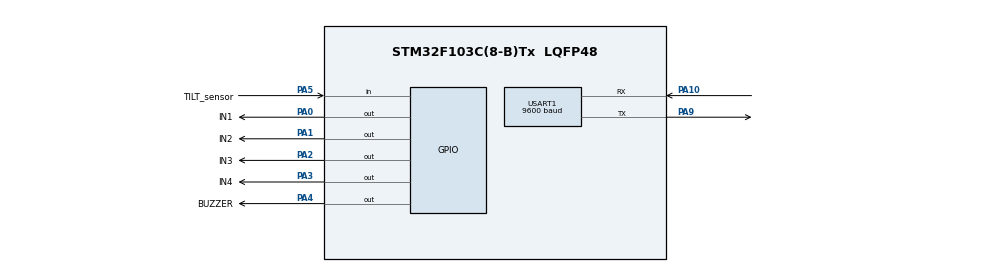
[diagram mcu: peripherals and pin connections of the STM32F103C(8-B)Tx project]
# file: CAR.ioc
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Mcu.Family=STM32F1
Mcu.Name=STM32F103C(8-B)Tx
Mcu.Package=LQFP48
NVIC.PriorityGroup=NVIC_PRIORITYGROUP_4
PA0-WKUP.GPIO_Label=IN1
PA0-WKUP.Signal=GPIO_Output
PA1.GPIO_Label=IN2
PA1.Signal=GPIO_Output
PA10.Mode=Asynchronous
PA10.Signal=USART1_RX
PA13.Mode=Serial_Wire
PA13.Signal=SYS_JTMS-SWDIO
PA14.Mode=Serial_Wire
PA14.Signal=SYS_JTCK-SWCLK
PA2.GPIO_Label=IN3
PA2.Signal=GPIO_Output
PA3.GPIO_Label=IN4
PA3.Signal=GPIO_Output
PA4.GPIO_Label=BUZZER
PA4.Signal=GPIO_Output
PA5.GPIO_Label=TILT_sensor
PA5.Signal=GPIO_Input
PA9.Mode=Asynchronous
PA9.Signal=USART1_TX
ProjectManager.HeapSize=0x200
ProjectManager.StackSize=0x400
ProjectManager.TargetToolchain=STM32CubeIDE
RCC.APB1Freq_Value=8000000
RCC.APB2Freq_Value=8000000
USART1.BaudRate=9600
USART1.VirtualMode=VM_ASYNC
board=custom

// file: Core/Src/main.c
/* USER CODE BEGIN Header */
/**
  ******************************************************************************
  * @file           : main.c
  * @brief          : Main program body
  ******************************************************************************
  * @attention
  *
  * Copyright (c) 2026 STMicroelectronics.
  * All rights reserved.
  *
  * This software is licensed under terms that can be found in the LICENSE file
  * in the root directory of this software component.
  * If no LICENSE file comes with this software, it is provided AS-IS.
  *
  ******************************************************************************
  */
/* USER CODE END Header */
#include "main.h"

UART_HandleTypeDef huart1;

void SystemClock_Config(void);
static void MX_GPIO_Init(void);
static void MX_USART1_UART_Init(void);

int main(void)
{

  /* MCU Configuration--------------------------------------------------------*/

  /* Reset of all peripherals, Initializes the Flash interface and the Systick. */
  HAL_Init();

  /* Configure the system clock */
  SystemClock_Config();

  /* Initialize all configured peripherals */
  MX_GPIO_Init();
  MX_USART1_UART_Init();
enum CAR{
	front,back,right,left,stop
};
enum CAR state = stop;
  /* Infinite loop */
  /* USER CODE BEGIN WHILE */
  while (1)
  {
	  if(HAL_GPIO_ReadPin(GPIOA,GPIO_PIN_5)==GPIO_PIN_SET){
		  HAL_GPIO_WritePin(GPIOA,GPIO_PIN_4,SET);
	  }
	  else if(HAL_GPIO_ReadPin(GPIOA,GPIO_PIN_5)==GPIO_PIN_RESET){
		  HAL_GPIO_WritePin(GPIOA,GPIO_PIN_4,RESET);
	  }
	  uint8_t a;
	 if(HAL_UART_Receive(&huart1, (uint8_t*)&a, 1, 100)==HAL_OK){
		 if(a == 'F')
		     state = front;
		 else if(a == 'S')
		     state = stop;
		 else if(a == 'R')
		     state = right;
		 else if(a == 'L')
		     state = left;
		 else if(a == 'B')
		     state = back;
	 }
	  switch(state){
	  case stop:
		  HAL_GPIO_WritePin(GPIOA,GPIO_PIN_0,RESET);
		  HAL_GPIO_WritePin(GPIOA,GPIO_PIN_1,RESET);
		  HAL_GPIO_WritePin(GPIOA,GPIO_PIN_2,RESET);
		  HAL_GPIO_WritePin(GPIOA,GPIO_PIN_3,RESET);
		  break;

	  case front:
		  HAL_GPIO_WritePin(GPIOA,GPIO_PIN_0,SET);
		  HAL_GPIO_WritePin(GPIOA,GPIO_PIN_1,RESET);
		  HAL_GPIO_WritePin(GPIOA,GPIO_PIN_2,SET);
		  HAL_GPIO_WritePin(GPIOA,GPIO_PIN_3,RESET);
		  break;

	  case back:
		  HAL_GPIO_WritePin(GPIOA,GPIO_PIN_0,RESET);
		  HAL_GPIO_WritePin(GPIOA,GPIO_PIN_1,SET);
		  HAL_GPIO_WritePin(GPIOA,GPIO_PIN_2,RESET);
		  HAL_GPIO_WritePin(GPIOA,GPIO_PIN_3,SET);
		  break;

	  case right:
		  HAL_GPIO_WritePin(GPIOA,GPIO_PIN_0,SET);
		  HAL_GPIO_WritePin(GPIOA,GPIO_PIN_1,RESET);
		  HAL_GPIO_WritePin(GPIOA,GPIO_PIN_2,RESET);
		  HAL_GPIO_WritePin(GPIOA,GPIO_PIN_3,RESET);
		  break;

	  case left:
		  HAL_GPIO_WritePin(GPIOA,GPIO_PIN_0,RESET);
		  HAL_GPIO_WritePin(GPIOA,GPIO_PIN_1,RESET);
		  HAL_GPIO_WritePin(GPIOA,GPIO_PIN_2,SET);
		  HAL_GPIO_WritePin(GPIOA,GPIO_PIN_3,RESET);
		  break;
	  }
    /* USER CODE END WHILE */

  }
}

void SystemClock_Config(void)
{
  RCC_OscInitTypeDef RCC_OscInitStruct = {0};
  RCC_ClkInitTypeDef RCC_ClkInitStruct = {0};

  /** Initializes the RCC Oscillators according to the specified parameters
  * in the RCC_OscInitTypeDef structure.
  */
  RCC_OscInitStruct.OscillatorType = RCC_OSCILLATORTYPE_HSI;
  RCC_OscInitStruct.HSIState = RCC_HSI_ON;
  RCC_OscInitStruct.HSICalibrationValue = RCC_HSICALIBRATION_DEFAULT;
  RCC_OscInitStruct.PLL.PLLState = RCC_PLL_NONE;
  if (HAL_RCC_OscConfig(&RCC_OscInitStruct) != HAL_OK)
  {
    Error_Handler();
  }

  /** Initializes the CPU, AHB and APB buses clocks
  */
  RCC_ClkInitStruct.ClockType = RCC_CLOCKTYPE_HCLK|RCC_CLOCKTYPE_SYSCLK
                              |RCC_CLOCKTYPE_PCLK1|RCC_CLOCKTYPE_PCLK2;
  RCC_ClkInitStruct.SYSCLKSource = RCC_SYSCLKSOURCE_HSI;
  RCC_ClkInitStruct.AHBCLKDivider = RCC_SYSCLK_DIV1;
  RCC_ClkInitStruct.APB1CLKDivider = RCC_HCLK_DIV1;
  RCC_ClkInitStruct.APB2CLKDivider = RCC_HCLK_DIV1;

  if (HAL_RCC_ClockConfig(&RCC_ClkInitStruct, FLASH_LATENCY_0) != HAL_OK)
  {
    Error_Handler();
  }
}

static void MX_USART1_UART_Init(void)
{

  huart1.Instance = USART1;
  huart1.Init.BaudRate = 9600;
  huart1.Init.WordLength = UART_WORDLENGTH_8B;
  huart1.Init.StopBits = UART_STOPBITS_1;
  huart1.Init.Parity = UART_PARITY_NONE;
  huart1.Init.Mode = UART_MODE_TX_RX;
  huart1.Init.HwFlowCtl = UART_HWCONTROL_NONE;
  huart1.Init.OverSampling = UART_OVERSAMPLING_16;
  if (HAL_UART_Init(&huart1) != HAL_OK)
  {
    Error_Handler();
  }

}

static void MX_GPIO_Init(void)
{
  GPIO_InitTypeDef GPIO_InitStruct = {0};

  /* GPIO Ports Clock Enable */
  __HAL_RCC_GPIOA_CLK_ENABLE();

  /*Configure GPIO pin Output Level */
  HAL_GPIO_WritePin(GPIOA, IN1_Pin|IN2_Pin|IN3_Pin|IN4_Pin
                          |BUZZER_Pin, GPIO_PIN_RESET);

  /*Configure GPIO pins : IN1_Pin IN2_Pin IN3_Pin IN4_Pin
                           BUZZER_Pin */
  GPIO_InitStruct.Pin = IN1_Pin|IN2_Pin|IN3_Pin|IN4_Pin
                          |BUZZER_Pin;
  GPIO_InitStruct.Mode = GPIO_MODE_OUTPUT_PP;
  GPIO_InitStruct.Pull = GPIO_NOPULL;
  GPIO_InitStruct.Speed = GPIO_SPEED_FREQ_LOW;
  HAL_GPIO_Init(GPIOA, &GPIO_InitStruct);

  /*Configure GPIO pin : TILT_sensor_Pin */
  GPIO_InitStruct.Pin = TILT_sensor_Pin;
  GPIO_InitStruct.Mode = GPIO_MODE_INPUT;
  GPIO_InitStruct.Pull = GPIO_NOPULL;
  HAL_GPIO_Init(TILT_sensor_GPIO_Port, &GPIO_InitStruct);

}

void Error_Handler(void)
{
  __disable_irq();
  while (1)
  {
  }
}
